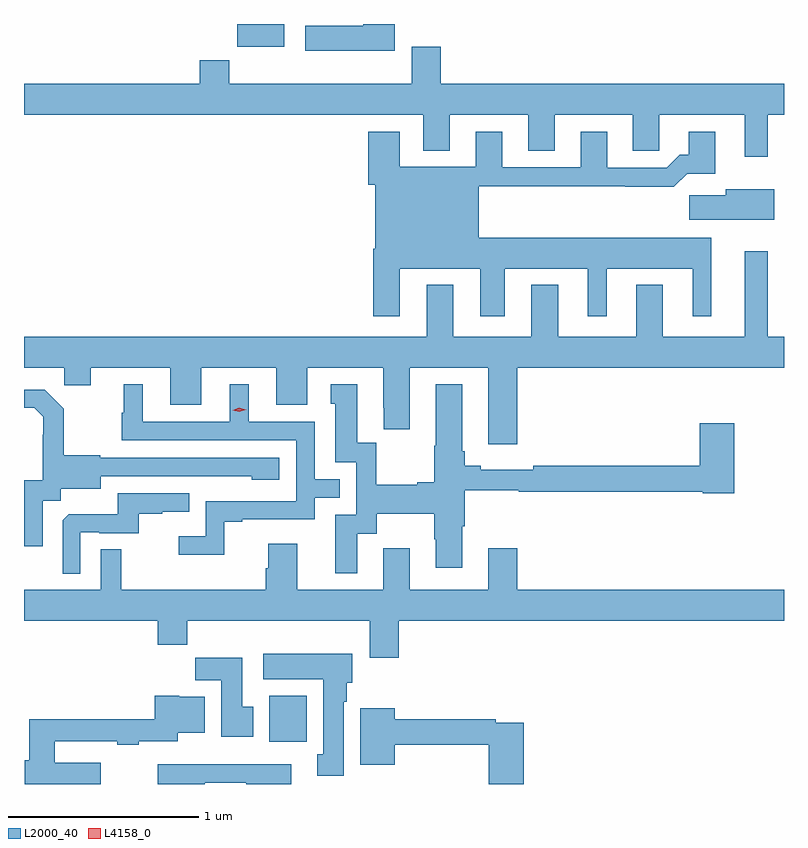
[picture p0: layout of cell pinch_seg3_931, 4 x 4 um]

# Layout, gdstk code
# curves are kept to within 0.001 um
import gdstk
lib = gdstk.Library(unit=1e-6, precision=1e-09)
def R(c, l, rs):  # rectangles x0, y0, x1, y1
    for r in rs: c.add(gdstk.rectangle(r[:2], r[2:], *l))
def P(c, l, *ps):  # polygons
    for p in ps: c.add(gdstk.Polygon(p, *l))
L2000_40 = (2000, 40)
L4158_0 = (4158, 0)

pinch_seg3_931 = lib.new_cell('pinch_seg3_931')
R(pinch_seg3_931, L2000_40, [(580.871,736.244,581.068,736.486)])
P(pinch_seg3_931, L2000_40, [(580.951,740.022),(580.841,740.022),(580.841,740.02),(580.702,740.02),(580.702,739.902),(580.951,739.902)],
  [(581.53,740.022),(581.365,740.022),(581.365,740.014),(581.061,740.014),(581.061,739.88),(581.53,739.88)],
  [(583.495,739.544),(583.58,739.544),(583.58,739.708),(581.774,739.708),(581.774,739.903),(581.621,739.903),(581.621,739.708),(580.661,739.708),(580.661,739.832),(580.505,739.832),(580.505,739.708),(579.58,739.708),(579.58,739.544),(581.681,739.544),(581.681,739.355),(581.821,739.355),(581.821,739.544),(582.233,739.544),(582.233,739.354),(582.373,739.354),(582.373,739.544),(582.785,739.544),(582.785,739.354),(582.924,739.354),(582.924,739.544),(583.373,739.544),(583.373,739.323),(583.495,739.323)],
  [(581.557,738.734),(581.981,738.734),(581.981,738.483),(582.109,738.483),(582.109,738.734),(582.548,738.734),(582.548,738.483),(582.646,738.483),(582.646,738.734),(583.1,738.734),(583.1,738.483),(583.198,738.483),(583.198,738.898),(581.974,738.898),(581.974,739.168),(582.745,739.168),(582.745,739.166),(583.001,739.166),(583.07,739.235),(583.219,739.235),(583.219,739.456),(583.079,739.456),(583.079,739.333),(583.03,739.333),(582.963,739.266),(582.649,739.266),(582.649,739.456),(582.509,739.456),(582.509,739.269),(582.097,739.269),(582.097,739.456),(581.957,739.456),(581.957,739.27),(581.557,739.27),(581.557,739.456),(581.393,739.456),(581.393,739.176),(581.429,739.176),(581.429,738.838),(581.417,738.838),(581.417,738.483),(581.557,738.483)],
  [(583.528,739.153),(583.274,739.153),(583.274,739.121),(583.08,739.121),(583.08,738.992),(583.528,738.992)],
  [(582.176,738.212),(583.58,738.212),(583.58,738.376),(583.495,738.376),(583.495,738.826),(583.373,738.826),(583.373,738.376),(582.943,738.376),(582.943,738.649),(582.803,738.649),(582.803,738.376),(582.391,738.376),(582.391,738.649),(582.251,738.649),(582.251,738.376),(581.839,738.376),(581.839,738.649),(581.699,738.649),(581.699,738.376),(579.58,738.376),(579.58,738.212),(579.793,738.212),(579.793,738.122),(579.931,738.122),(579.931,738.212),(580.349,738.212),(580.349,738.018),(580.513,738.018),(580.513,738.212),(580.907,738.212),(580.907,738.018),(581.071,738.018),(581.071,738.212),(581.471,738.212),(581.471,738.001),(581.474,738.001),(581.474,737.889),(581.611,737.889),(581.611,738.212),(582.023,738.212),(582.023,737.811),(582.176,737.811)],
  [(581.335,737.338),(581.437,737.338),(581.437,737.444),(581.74,737.444),(581.74,737.31),(581.747,737.31),(581.747,737.16),(581.887,737.16),(581.887,737.378),(581.9,737.378),(581.9,737.568),(582.183,737.568),(582.183,737.56),(583.152,737.56),(583.152,737.552),(583.319,737.552),(583.319,737.92),(583.136,737.92),(583.136,737.696),(582.259,737.696),(582.259,737.677),(581.983,737.677),(581.983,737.696),(581.9,737.696),(581.9,737.773),(581.887,737.773),(581.887,738.127),(581.747,738.127),(581.747,737.801),(581.74,737.801),(581.74,737.609),(581.651,737.609),(581.651,737.596),(581.433,737.596),(581.433,737.819),(581.335,737.819),(581.335,738.127),(581.195,738.127),(581.195,738.024),(581.219,738.024),(581.219,737.715),(581.328,737.715),(581.328,737.439),(581.219,737.439),(581.219,737.13),(581.335,737.13)],
  [(580.635,737.403),(580.729,737.403),(580.729,737.415),(581.109,737.415),(581.109,737.529),(581.243,737.529),(581.243,737.625),(581.109,737.625),(581.109,737.928),(580.762,737.928),(580.762,738.127),(580.664,738.127),(580.664,737.928),(580.204,737.928),(580.204,738.127),(580.106,738.127),(580.106,737.976),(580.095,737.976),(580.095,737.832),(581.013,737.832),(581.013,737.511),(580.536,737.511),(580.536,737.326),(580.395,737.326),(580.395,737.228),(580.635,737.228)],
  [(579.679,737.512),(579.774,737.512),(579.774,737.576),(579.985,737.576),(579.985,737.643),(580.779,737.642),(580.779,737.624),(580.924,737.624),(580.924,737.739),(579.981,737.739),(579.981,737.752),(579.789,737.752),(579.789,737.997),(579.689,738.097),(579.58,738.097),(579.58,738.003),(579.633,738.003),(579.68,737.956),(579.68,737.861),(579.678,737.861),(579.678,737.62),(579.58,737.62),(579.58,737.274),(579.679,737.274)],
  [(579.876,737.346),(579.976,737.346),(579.976,737.343),(580.184,737.343),(580.184,737.445),(580.307,737.445),(580.307,737.456),(580.451,737.456),(580.451,737.553),(580.074,737.553),(580.074,737.441),(579.815,737.441),(579.783,737.409),(579.783,737.129),(579.876,737.129)],
  [(581.552,736.88),(583.58,736.88),(583.58,737.044),(582.176,737.044),(582.176,737.263),(582.023,737.263),(582.023,737.044),(581.611,737.044),(581.611,737.263),(581.471,737.263),(581.471,737.044),(581.017,737.044),(581.017,737.287),(580.865,737.287),(580.865,737.157),(580.853,737.157),(580.853,737.044),(580.093,737.044),(580.093,737.258),(579.984,737.258),(579.984,737.044),(579.58,737.044),(579.58,736.88),(580.283,736.88),(580.283,736.756),(580.439,736.756),(580.439,736.88),(581.399,736.88),(581.399,736.686),(581.552,736.686)],
  [(581.263,736.454),(581.278,736.454),(581.278,736.554),(581.308,736.554),(581.308,736.708),(580.839,736.708),(580.839,736.574),(581.156,736.574),(581.156,736.178),(581.123,736.178),(581.123,736.065),(581.263,736.065)],
  [(580.786,736.428),(580.729,736.428),(580.729,736.687),(580.48,736.687),(580.48,736.568),(580.619,736.568),(580.619,736.272),(580.786,736.272)],
  [(579.985,736.135),(579.743,736.135),(579.743,736.248),(580.072,736.248),(580.072,736.228),(580.184,736.228),(580.184,736.248),(580.39,736.248),(580.39,736.292),(580.531,736.292),(580.531,736.48),(580.398,736.48),(580.398,736.486),(580.268,736.486),(580.268,736.364),(579.607,736.364),(579.607,736.148),(579.584,736.148),(579.584,736.022),(579.985,736.022)],
  [(582.209,736.344),(582.062,736.344),(582.062,736.364),(581.53,736.364),(581.53,736.42),(581.351,736.42),(581.351,736.124),(581.53,736.124),(581.53,736.228),(582.026,736.228),(582.026,736.022),(582.209,736.022)],
  [(580.531,736.029),(580.751,736.029),(580.751,736.022),(580.987,736.022),(580.987,736.126),(580.283,736.126),(580.283,736.022),(580.531,736.022)])
P(pinch_seg3_931, L4158_0, [(580.713,737.981),(580.678,737.989),(580.677,737.989),(580.678,737.99),(580.713,738.001),(580.748,737.992),(580.749,737.992),(580.748,737.992)])

lib.write_gds('pinch_seg3_931.gds')
